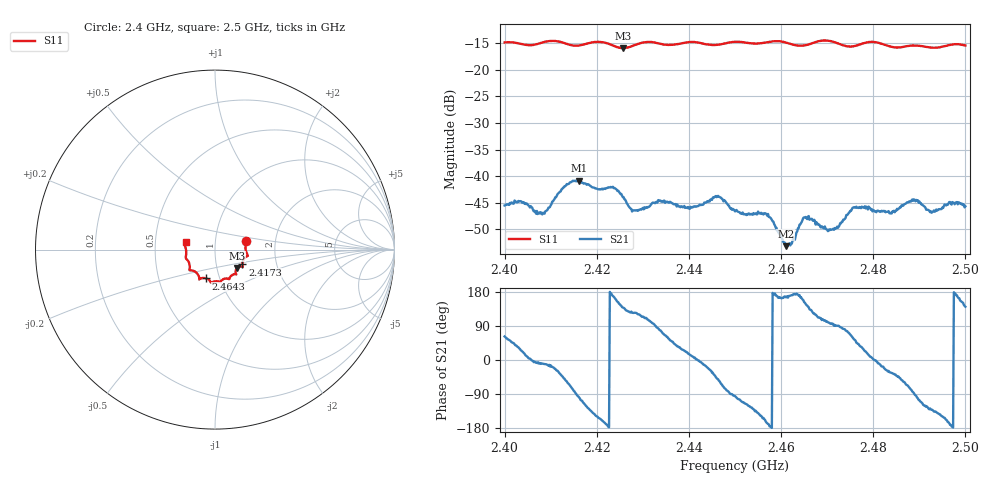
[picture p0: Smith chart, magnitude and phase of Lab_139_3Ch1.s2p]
# Hz S RI R 50
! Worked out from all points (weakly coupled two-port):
!   601 points, 2.4 GHz to 2.5 GHz, reference 50 ohm
!   highest |S21| = -40.83 dB at 2.4162 GHz (marker M1); lowest = -53.2 dB at 2.461 GHz (marker M2)
!   lowest |S11| = -15.9 dB at 2.4257 GHz (marker M3), VSWR 1.38, Z = 62.4 - j13.1 ohm
!   |S11| at or under -10 dB: start of sweep to end of sweep
!   S12 and S22 are empty: the file has one direction only
!   S11 on the Smith chart (normalised r, x): 2.4 GHz: 1.41, +0.14; 2.4173 GHz: 1.34, -0.23; 2.4643 GHz: 0.86, -0.28; 2.5 GHz: 0.72, +0.06
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2.4e9  0.1736 0.0493  0.00248 0.00469  0 0  0 0
2.4085e9  0.1801 -0.0256  0.00444 -0.000814  0 0  0 0
2.413167e9  0.1721 -0.0407  0.00487 -0.00641  0 0  0 0
2.416167e9  0.1542 -0.069  -0.00139 -0.00898  0 0  0 0
2.416667e9  0.153 -0.075  -0.00256 -0.00844  0 0  0 0
2.417333e9  0.1524 -0.0826  -0.00374 -0.0077  0 0  0 0
2.425667e9  0.1223 -0.1024  -0.00476 0.0042  0 0  0 0
2.428167e9  0.1148 -0.1253  -0.00272 0.00393  0 0  0 0
2.433333e9  0.1127 -0.1366  0.000693 0.00592  0 0  0 0
2.440167e9  0.0796 -0.1639  0.00478 0.0012  0 0  0 0
2.446167e9  0.0459 -0.1655  0.00416 -0.00492  0 0  0 0
2.45e9  0.0296 -0.1808  -0.000423 -0.00465  0 0  0 0
2.456833e9  -0.0126 -0.1804  -0.00424 -0.00113  0 0  0 0
2.461e9  -0.0258 -0.1784  -0.00213 0.000544  0 0  0 0
2.464333e9  -0.0501 -0.1605  -0.00352 0.000887  0 0  0 0
2.466667e9  -0.0762 -0.1597  -0.00251 0.00308  0 0  0 0
2.4705e9  -0.0871 -0.1651  -0.000435 0.00307  0 0  0 0
2.476e9  -0.1163 -0.1195  0.00304 0.00405  0 0  0 0
2.483333e9  -0.1407 -0.0897  0.00412 -0.00225  0 0  0 0
2.488833e9  -0.1623 -0.0469  0.000263 -0.00604  0 0  0 0
2.492833e9  -0.1602 -0.0158  -0.00305 -0.00345  0 0  0 0
2.5e9  -0.1638 0.0415  -0.00403 0.0033  0 0  0 0
